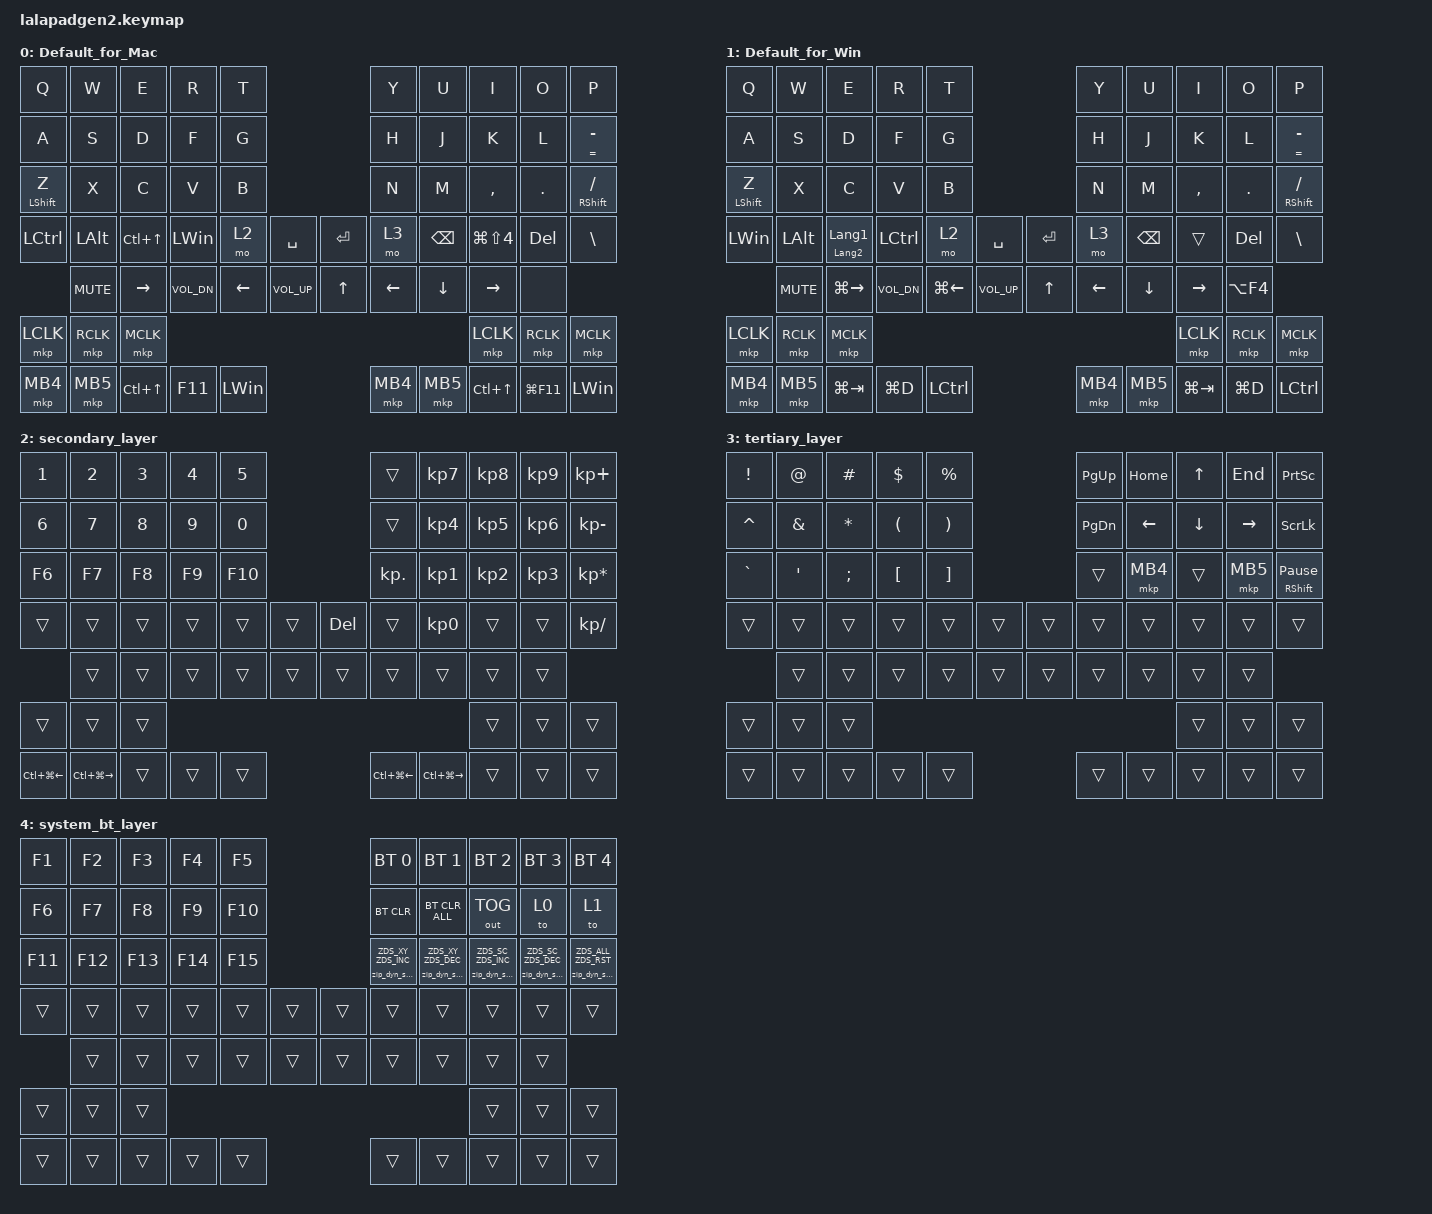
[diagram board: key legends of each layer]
#include <input/processors.dtsi>
#include <dt-bindings/zmk/zip_dynamic_scale.h>
#include <dt-bindings/zmk/input_transform.h>
#include <scroll-snap.dtsi>
#include <behaviors.dtsi>
#include <dt-bindings/zmk/bt.h>
#include <dt-bindings/zmk/keys.h>
#include <dt-bindings/zmk/outputs.h>
#include <dt-bindings/zmk/pointing.h>

#define DEFAULT_MAC_LAYER 0
#define DEFAULT_WIN_LAYER 1
#define SECONDARY_LAYER   2
#define TERTIARY_LAYER    3
#define SYSTEM_BT_LAYER   4

&mt { quick-tap-ms = <200>; };

&lt { quick-tap-ms = <200>; };

&trackpad_listener_R {
    input-processors =
        <&trackpad_key_behaviors_R>,
        <&zip_xy_scaler 1 5>,
        <&zip_scroll_scaler 1 12>,
        <&zip_dynamic_xy_scaler>,
        <&zip_dynamic_scroll_scaler>,
        <&zip_scroll_transform INPUT_TRANSFORM_Y_INVERT>;

    lowspeedmode {
        layers = <1>, <2>;

        input-processors =
            <&trackpad_key_behaviors_R>,
            <&zip_xy_scaler 1 15>,
            <&zip_scroll_scaler 1 40>,
            <&zip_scroll_snap>,
            <&zip_dynamic_xy_scaler>,
            <&zip_dynamic_scroll_scaler>;
    };
};

&trackpad_listener_L {
    input-processors =
        <&trackpad_key_behaviors_L>,
        <&zip_xy_scaler 1 5>,
        <&zip_scroll_scaler 1 12>,
        <&zip_dynamic_xy_scaler>,
        <&zip_dynamic_scroll_scaler>,
        <&zip_scroll_transform INPUT_TRANSFORM_Y_INVERT>;

    lowspeedmode {
        layers = <1>, <2>;

        input-processors =
            <&trackpad_key_behaviors_L>,
            <&zip_xy_scaler 1 15>,
            <&zip_scroll_scaler 1 40>,
            <&zip_scroll_snap>,
            <&zip_dynamic_xy_scaler>,
            <&zip_dynamic_scroll_scaler>;
    };
};

/ {
    behaviors {
        zip_dyn_scale: zip_dyn_scale {
            compatible = "zmk,behavior-zip-dynamic-scale";
            #binding-cells = <2>;
        };

        zip_dyn_scale_set: zip_dyn_scale_set {
            compatible = "zmk,behavior-zip-dynamic-scale-set";
            #binding-cells = <2>;
        };

        mt2: mod_tap2 {
            compatible = "zmk,behavior-hold-tap";
            #binding-cells = <2>;
            flavor = "tap-preferred";
            tapping-term-ms = <200>;
            quick-tap-ms = <200>;
            require-prior-idle-ms = <125>;
            bindings = <&kp>, <&kp>;
        };

        tap_dance_layer_1and2: tap_dance_layer_1and2 {
            compatible = "zmk,behavior-tap-dance";
            label = "td_mo12";
            #binding-cells = <0>;
            bindings = <&mo 1>, <&mo 2>;
        };
    };

    combos {
        compatible = "zmk,combos";

        COMBO_ESC {
            bindings = <&kp ESCAPE>;
            key-positions = <0 1>;
        };

        COMBO_TAB {
            bindings = <&kp TAB>;
            key-positions = <10 11>;
        };

        COMBO_NewFolder_Mac {
            bindings = <&kp LS(LG(N))>;
            key-positions = <5 6>;
            layers = <0>;
        };

        COMBO_NewFolder_Win {
            bindings = <&kp LS(LC(N))>;
            key-positions = <5 6>;
            layers = <1>;
        };
    };

    keymap {
        compatible = "zmk,keymap";

        DEFAULT_MAC_LAYER {
            display-name = "Default_for_Mac";
            bindings = <
&kp Q              &kp W         &kp E       &kp R         &kp T                                  &kp Y     &kp U          &kp I                 &kp O        &kp P
&kp A              &kp S         &kp D       &kp F         &kp G                                  &kp H     &kp J          &kp K                 &kp L        &mt2 EQUAL MINUS
&mt2 LEFT_SHIFT Z  &kp X         &kp C       &kp V         &kp B                                  &kp N     &kp M          &kp COMMA             &kp PERIOD   &mt2 RIGHT_SHIFT SLASH
&kp LCTRL          &kp LEFT_ALT  &kp LC(UP)  &kp LEFT_WIN  &mo 2         &kp SPACE     &kp ENTER  &mo 3     &kp BACKSPACE  &kp LG(LS(NUMBER_4))  &kp DEL      &kp BACKSLASH
                   &kp C_MUTE    &kp RIGHT   &kp C_VOL_DN  &kp LEFT      &kp C_VOL_UP  &kp UP     &kp LEFT  &kp DOWN       &kp RIGHT             &none
&mkp LCLK          &mkp RCLK     &mkp MCLK                                                                                 &mkp LCLK             &mkp RCLK    &mkp MCLK
&mkp MB4           &mkp MB5      &kp LC(UP)  &kp F11       &kp LEFT_WIN                           &mkp MB4  &mkp MB5       &kp LC(UP)            &kp LG(F11)  &kp LEFT_WIN
            >;
        };

        DEFAULT_WIN_LAYER {
            display-name = "Default_for_Win";
            bindings = <
&kp Q              &kp W         &kp E                       &kp R         &kp T                                  &kp Y     &kp U          &kp I        &kp O       &kp P
&kp A              &kp S         &kp D                       &kp F         &kp G                                  &kp H     &kp J          &kp K        &kp L       &mt2 EQUAL MINUS
&mt2 LEFT_SHIFT Z  &kp X         &kp C                       &kp V         &kp B                                  &kp N     &kp M          &kp COMMA    &kp PERIOD  &mt2 RIGHT_SHIFT SLASH
&kp LEFT_WIN       &kp LEFT_ALT  &mt2 LANGUAGE_2 LANGUAGE_1  &kp LCTRL     &mo 2         &kp SPACE     &kp ENTER  &mo 3     &kp BACKSPACE  &trans       &kp DEL     &kp BACKSLASH
                   &kp C_MUTE    &kp LG(RIGHT)               &kp C_VOL_DN  &kp LG(LEFT)  &kp C_VOL_UP  &kp UP     &kp LEFT  &kp DOWN       &kp RIGHT    &kp LA(F4)
&mkp LCLK          &mkp RCLK     &mkp MCLK                                                                                                 &mkp LCLK    &mkp RCLK   &mkp MCLK
&mkp MB4           &mkp MB5      &kp LG(TAB)                 &kp LG(D)     &kp LCTRL                              &mkp MB4  &mkp MB5       &kp LG(TAB)  &kp LG(D)   &kp LCTRL
            >;
        };

        SECONDARY_LAYER {
            display-name = "secondary_layer";
            bindings = <
&kp NUMBER_1      &kp NUMBER_2       &kp NUMBER_3  &kp NUMBER_4  &kp N5                    &trans            &kp KP_NUMBER_7    &kp KP_NUMBER_8  &kp KP_NUMBER_9  &kp KP_PLUS
&kp NUMBER_6      &kp N7             &kp N8        &kp N9        &kp N0                    &trans            &kp KP_NUMBER_4    &kp KP_NUMBER_5  &kp KP_NUMBER_6  &kp KP_MINUS
&kp F6            &kp F7             &kp F8        &kp F9        &kp F10                   &kp KP_DOT        &kp KP_NUMBER_1    &kp KP_NUMBER_2  &kp KP_NUMBER_3  &kp KP_ASTERISK
&trans            &trans             &trans        &trans        &trans   &trans  &kp DEL  &trans            &kp KP_N0          &trans           &trans           &kp KP_DIVIDE
                  &trans             &trans        &trans        &trans   &trans  &trans   &trans            &trans             &trans           &trans
&trans            &trans             &trans                                                                                     &trans           &trans           &trans
&kp LC(LG(LEFT))  &kp LC(LG(RIGHT))  &trans        &trans        &trans                    &kp LC(LG(LEFT))  &kp LC(LG(RIGHT))  &trans           &trans           &trans
            >;
        };

        TERTIARY_LAYER {
            display-name = "tertiary_layer";
            bindings = <
&kp EXCLAMATION  &kp AT_SIGN    &kp HASH      &kp DOLLAR            &kp PERCENT                            &kp PAGE_UP    &kp HOME  &kp UP_ARROW    &kp END    &kp PRINTSCREEN
&kp CARET        &kp AMPERSAND  &kp ASTERISK  &kp LEFT_PARENTHESIS  &kp RIGHT_PARENTHESIS                  &kp PAGE_DOWN  &kp LEFT  &kp DOWN_ARROW  &kp RIGHT  &kp SCROLLLOCK
&kp GRAVE        &kp SQT        &kp SEMI      &kp LEFT_BRACKET      &kp RIGHT_BRACKET                      &trans         &mkp MB4  &trans          &mkp MB5   &mt2 RIGHT_SHIFT PAUSE_BREAK
&trans           &trans         &trans        &trans                &trans                 &trans  &trans  &trans         &trans    &trans          &trans     &trans
                 &trans         &trans        &trans                &trans                 &trans  &trans  &trans         &trans    &trans          &trans
&trans           &trans         &trans                                                                                              &trans          &trans     &trans
&trans           &trans         &trans        &trans                &trans                                 &trans         &trans    &trans          &trans     &trans
            >;
        };

        SYSTEM_BT_LAYER {
            display-name = "system_bt_layer";
            bindings = <
&kp F1   &kp F2   &kp F3   &kp F4   &kp F5                   &bt BT_SEL 0                   &bt BT_SEL 1                   &bt BT_SEL 2                   &bt BT_SEL 3                   &bt BT_SEL 4
&kp F6   &kp F7   &kp F8   &kp F9   &kp F10                  &bt BT_CLR                     &bt BT_CLR_ALL                 &out OUT_TOG                   &to 0                          &to 1
&kp F11  &kp F12  &kp F13  &kp F14  &kp F15                  &zip_dyn_scale ZDS_XY ZDS_INC  &zip_dyn_scale ZDS_XY ZDS_DEC  &zip_dyn_scale ZDS_SC ZDS_INC  &zip_dyn_scale ZDS_SC ZDS_DEC  &zip_dyn_scale ZDS_ALL ZDS_RST
&trans   &trans   &trans   &trans   &trans   &trans  &trans  &trans                         &trans                         &trans                         &trans                         &trans
         &trans   &trans   &trans   &trans   &trans  &trans  &trans                         &trans                         &trans                         &trans
&trans   &trans   &trans                                                                                                   &trans                         &trans                         &trans
&trans   &trans   &trans   &trans   &trans                   &trans                         &trans                         &trans                         &trans                         &trans
            >;
        };
    };

    conditional_layers {
        compatible = "zmk,conditional-layers";

        Cond_SysBtlayer {
            if-layers = <2 3>;
            then-layer = <4>;
        };
    };
};
